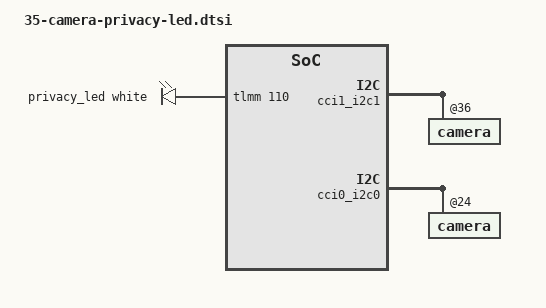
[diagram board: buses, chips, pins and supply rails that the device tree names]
// SPDX-License-Identifier: BSD-3-Clause
/*
 * Camera privacy LED of the ASUS Vivobook S 15 (S5507QA, X1E80100), overlay
 * fragment. The LED next to the webcam lights while the RGB or the IR
 * camera streams, as on Windows.
 *
 * REQUIRES 20-camera-rgb.dtsi and 30-camera-ir.dtsi (sensor nodes, labels
 * cci0_i2c0, cci1_i2c1 and ir_flash). Must sort after them.
 *
 * Origin of the values:
 *  - DSDT of BIOS 318, \_SB.CAMP (QCOM0C32, camera platform device), _CRS:
 *    GpioIo index 0 = \_SB.GIO0 pin 0x63 (Shared, PullUp),
 *    GpioIo index 1 = \_SB.GIO0 pin 0x6E (Exclusive, PullNone).
 *    GIO0 is the TLMM (QCOM0C0C at 0x0F100000), so index 1 is gpio110. No
 *    other device in the DSDT uses pin 110.
 *  - AeoB CAMP_PRLD_QRD (registry value PrldBinaryPath of the Windows
 *    camera platform driver), entry 0x0506. The driver decodes bits 0-7 as
 *    the sensor mask (bit 0 rear, bit 1 front, bit 2 aux/IR), bits 8-9 as
 *    the LED type (1 = GPIO), bits 10-12 as the GpioIo index and bit 13 as
 *    "active low". So: GPIO type, index 1 (gpio110), active high, for the
 *    front RGB and the IR camera. The driver reference-counts the LED over
 *    the sensors.
 *  - The same gpio110 drives the camera indicator of the Zenbook A14 and
 *    other X1E laptops in mainline (x1-asus-zenbook-a14.dtsi), whose AeoB
 *    has the identical PRLD entry.
 *
 * Both sensors share one LED; the kernel keeps it lit while either streams
 * only with the v4l2-subdev patch "keep a shared privacy LED lit while any
 * of its sensors streams". Without that patch, the IR camera stopping would
 * switch the LED off while the RGB camera still streams.
 *
 * The leds/led-names properties replace those of 30-camera-ir.dtsi on the
 * IR sensor. Entry 0 must stay the IR illuminator: the hm1092 driver takes
 * "leds" entry 0 as its flash LED. The v4l2 core finds the privacy LED by
 * its name.
 */

#include <dt-bindings/gpio/gpio.h>
#include <dt-bindings/leds/common.h>

&{/} {
	leds {
		compatible = "gpio-leds";

		pinctrl-0 = <&cam_privacy_led_default>;
		pinctrl-names = "default";

		privacy_led: privacy-led {
			function = LED_FUNCTION_INDICATOR;
			color = <LED_COLOR_ID_WHITE>;
			gpios = <&tlmm 110 GPIO_ACTIVE_HIGH>;
			default-state = "off";
		};
	};
};

&tlmm {
	cam_privacy_led_default: cam-privacy-led-default-state {
		pins = "gpio110";
		function = "gpio";
		drive-strength = <2>;
		bias-disable;
	};
};

/* RGB camera OV02C10 */
&cci1_i2c1 {
	camera@36 {
		leds = <&privacy_led>;
		led-names = "privacy";
	};
};

/* IR camera HM1092 */
&cci0_i2c0 {
	camera@24 {
#ifndef VIVOBOOK_IR_NO_LED
		leds = <&ir_flash>, <&privacy_led>;
		led-names = "ir", "privacy";
#else
		/* the hm1092 driver logs that entry 0 is no flash LED; harmless */
		leds = <&privacy_led>;
		led-names = "privacy";
#endif
	};
};
